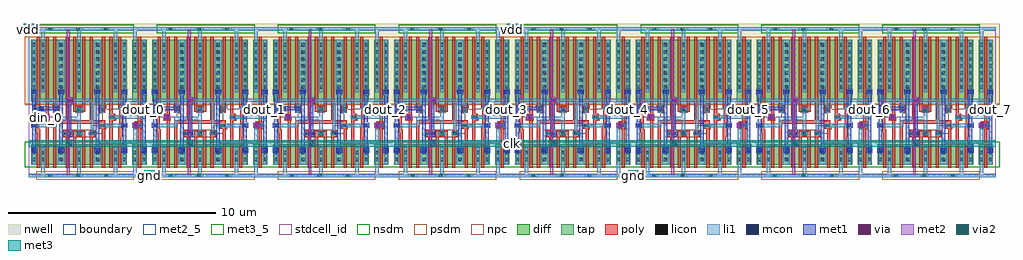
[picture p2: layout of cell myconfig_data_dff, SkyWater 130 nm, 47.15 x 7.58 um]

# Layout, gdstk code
import gdstk
lib = gdstk.Library(unit=1e-6, precision=1e-09)
def R(c, l, rs):  # rectangles x0, y0, x1, y1
    for r in rs: c.add(gdstk.rectangle(r[:2], r[2:], *l))
def A(c, l, x, y, w, h, nx, ny, dx, dy):  # array of equal rectangles
    R(c, l, [(x+i*dx, y+j*dy, x+i*dx+w, y+j*dy+h) for i in range(nx) for j in range(ny)])
nwell = (64, 20)
diff = (65, 20)
tap = (65, 44)
poly = (66, 20)
licon = (66, 44)
li1 = (67, 20)
mcon = (67, 44)
met1 = (68, 20)
via = (68, 44)
met2_5 = (69, 5)
met2 = (69, 20)
via2 = (69, 44)
met3_5 = (70, 5)
met3 = (70, 20)
stdcell_id = (81, 4)
nsdm = (93, 44)
psdm = (94, 20)
npc = (95, 20)
boundary = (235, 4)

sky130_fd_bd_sram__openr = lib.new_cell('sky130_fd_bd_sram__openram_dff')
R(sky130_fd_bd_sram__openr, nwell, [(-0.18,3.38,6.02,7.335)])
R(sky130_fd_bd_sram__openr, diff, [(0.14,0.51,4.75,1.51), (5.02,0.51,5.7,1.51), (0.14,3.56,4.75,6.56), (5.02,3.56,5.7,6.56)])
A(sky130_fd_bd_sram__openr, tap, 0.805, -0.085, 0.44, 0.17, 3, 2, 1.36, 7.07)
R(sky130_fd_bd_sram__openr, poly, [(0.405,0.38,0.555,2.085), (0.835,0.38,0.985,2.655), (1.195,0.38,1.345,2.505), (1.795,0.38,1.945,1.855), (2.155,0.38,2.305,1.885), (2.585,0.38,2.735,1.885), (2.945,0.38,3.095,1.855), (3.545,0.38,3.695,2.255), (3.905,0.38,4.055,2.655), (4.335,0.38,4.485,1.855), (5.285,0.38,5.435,2.255), (1.675,1.855,1.945,2.185), (2.945,1.855,3.215,2.185), (4.335,1.855,4.54,2.405), (2.155,1.885,2.735,2.155), (0.355,2.085,0.555,2.235), (0.355,2.235,0.505,3.055), (3.425,2.255,3.695,2.505), (5.165,2.255,5.435,2.585), (4.39,2.405,4.54,3.055), (1.195,2.505,3.695,2.655), (5.285,2.585,5.435,6.69), (0.715,2.655,0.985,2.985), (1.795,2.655,1.945,6.69), (2.945,2.655,3.095,6.69), (3.905,2.655,4.175,2.985), (0.835,2.985,0.985,6.69), (3.905,2.985,4.055,6.69), (1.195,3.03,1.465,3.36), (3.425,3.03,3.695,3.36), (0.235,3.055,0.505,3.335), (4.39,3.055,4.69,3.235), (2.155,3.065,2.735,3.335), (4.335,3.235,4.69,3.385), (0.235,3.335,0.555,3.385), (2.155,3.335,2.305,6.69), (2.585,3.335,2.735,6.69), (1.195,3.36,1.345,6.69), (3.545,3.36,3.695,6.69), (0.35,3.385,0.555,3.485), (4.335,3.385,4.485,6.69), (0.405,3.485,0.555,6.69)])
A(sky130_fd_bd_sram__openr, licon, 0.94, -0.085, 0.17, 0.17, 3, 2, 1.36, 7.07)
A(sky130_fd_bd_sram__openr, licon, 0.61, 0.675, 0.17, 0.17, 5, 2, 0.875, 0.34)
A(sky130_fd_bd_sram__openr, licon, 1.725, 1.935, 0.17, 0.17, 3, 1, 0.635, 0)
A(sky130_fd_bd_sram__openr, licon, 0.18, 4.185, 0.17, 0.17, 1, 7, 0, 0.34)
A(sky130_fd_bd_sram__openr, licon, 0.61, 4.185, 0.17, 0.17, 5, 7, 0.875, 0.34)
A(sky130_fd_bd_sram__openr, licon, 4.54, 4.185, 0.17, 0.17, 1, 7, 0, 0.34)
A(sky130_fd_bd_sram__openr, licon, 5.06, 4.185, 0.17, 0.17, 1, 7, 0, 0.34)
A(sky130_fd_bd_sram__openr, licon, 5.49, 4.185, 0.17, 0.17, 1, 7, 0, 0.34)
R(sky130_fd_bd_sram__openr, licon, [(0.18,0.675,0.35,0.845), (4.54,0.675,4.71,0.845), (5.06,0.675,5.23,0.845), (5.49,0.675,5.66,0.845), (0.18,1.015,0.35,1.185), (4.54,1.015,4.71,1.185), (5.06,1.015,5.23,1.185), (5.49,1.015,5.66,1.185), (3.475,2.335,3.645,2.505), (5.215,2.335,5.385,2.505), (0.765,2.735,0.935,2.905), (3.955,2.735,4.125,2.905), (1.245,3.11,1.415,3.28), (3.475,3.11,3.645,3.28), (2.36,3.115,2.53,3.285), (0.285,3.135,0.455,3.305), (4.47,3.135,4.64,3.305)])
A(sky130_fd_bd_sram__openr, li1, 0.61, 0.09, 0.17, 1.26, 3, 1, 1.75, 0)
A(sky130_fd_bd_sram__openr, li1, 0.61, 4.02, 0.17, 2.96, 3, 1, 1.75, 0)
R(sky130_fd_bd_sram__openr, li1, [(0,-0.09,5.84,0.09), (0,-0.09,5.84,0.09), (5.06,0.09,5.23,1.35), (0.18,0.51,0.35,1.35), (1.4,0.51,1.74,1.35), (3.15,0.51,3.49,1.35), (4.54,0.51,4.71,1.355), (5.49,0.51,5.66,1.355), (3.235,1.35,3.405,1.535), (3.235,1.535,5.23,1.705), (5.06,1.705,5.23,2.335), (1.64,1.935,2.065,2.105), (2.28,1.935,2.61,2.105), (2.915,1.935,3.245,2.105), (2.36,2.105,2.53,2.66), (2.995,2.105,3.165,3.535), (0.18,2.335,1.365,2.505), (3.395,2.335,4.71,2.505), (5.06,2.335,5.465,2.505), (1.195,2.505,1.365,2.66), (1.195,2.66,2.53,2.83), (0.685,2.735,1.015,2.905), (3.875,2.735,5.66,2.905), (2.36,2.83,2.53,3.115), (5.49,2.905,5.66,3.26), (1.245,3.03,1.415,3.535), (3.475,3.03,3.645,3.535), (2.28,3.115,2.61,3.285), (0.205,3.135,0.735,3.305), (4.39,3.135,4.72,3.305), (4.47,3.305,4.64,3.535), (0.205,3.535,5.66,3.705), (0.18,3.935,0.35,6.56), (1.485,3.935,1.655,4.02), (3.235,3.935,3.405,4.02), (4.54,3.935,4.71,6.56), (5.49,3.935,5.66,6.56), (1.4,4.02,1.74,6.56), (3.15,4.02,3.49,6.56), (5.06,4.02,5.23,6.98), (0,6.98,5.84,7.16), (0,6.98,5.84,7.16), (0,6.98,5.84,7.16)])
R(sky130_fd_bd_sram__openr, mcon, [(0.18,1.135,0.35,1.305), (1.485,1.135,1.655,1.305), (3.235,1.135,3.405,1.305), (4.54,1.135,4.71,1.305), (5.49,1.135,5.66,1.305), (1.895,1.935,2.065,2.105), (0.18,2.335,0.35,2.505), (4.54,2.335,4.71,2.505), (5.1,2.335,5.27,2.505), (0.765,2.735,0.935,2.905), (5.49,3.09,5.66,3.26), (0.565,3.135,0.735,3.305), (1.895,3.535,2.065,3.705), (0.18,3.935,0.35,4.105), (1.485,3.935,1.655,4.105), (3.235,3.935,3.405,4.105), (4.54,3.935,4.71,4.105), (5.49,3.935,5.66,4.105)])
R(sky130_fd_bd_sram__openr, met1, [(0.12,1.105,0.41,1.335), (1.425,1.105,1.715,1.335), (3.175,1.105,3.465,1.335), (4.48,1.105,4.77,1.335), (5.43,1.105,5.72,1.335), (0.18,1.335,0.35,2.305), (1.485,1.335,1.655,3.135), (3.235,1.335,3.405,3.905), (4.54,1.335,4.71,2.305), (5.49,1.335,5.66,3.045), (1.845,1.86,2.115,1.905), (1.835,1.905,2.125,2.135), (1.845,2.135,2.115,2.18), (1.895,2.18,2.065,3.46), (5.02,2.29,5.35,2.55), (0.12,2.305,0.41,2.535), (4.48,2.305,4.77,2.535), (0.18,2.535,0.35,3.905), (4.54,2.535,4.71,3.905), (0.685,2.69,1.015,2.95), (5.41,3.045,5.74,3.305), (0.505,3.105,0.795,3.135), (0.505,3.135,1.655,3.305), (0.505,3.305,0.795,3.335), (1.485,3.305,1.655,3.905), (5.49,3.305,5.66,3.905), (1.845,3.46,2.115,3.505), (1.835,3.505,2.125,3.735), (1.845,3.735,2.115,3.78), (0.12,3.905,0.41,4.135), (1.425,3.905,1.715,4.135), (3.175,3.905,3.465,4.135), (4.48,3.905,4.77,4.135), (5.43,3.905,5.72,4.135)])
R(sky130_fd_bd_sram__openr, via, [(5.11,2.345,5.26,2.495), (0.775,2.745,0.925,2.895), (5.5,3.1,5.65,3.25), (1.905,3.545,2.055,3.695)])
R(sky130_fd_bd_sram__openr, met2_5, [(0.685,2.69,1.015,2.95), (5.41,3.045,5.74,3.305), (1.845,3.46,2.115,3.78)])
R(sky130_fd_bd_sram__openr, met2, [(5.02,2.29,5.35,2.55), (0.685,2.69,1.015,2.95), (0.685,2.69,1.015,2.95), (0.685,2.69,1.015,2.95), (5.41,3.045,5.74,3.305), (5.41,3.045,5.74,3.305), (5.41,3.045,5.74,3.305), (1.845,3.46,2.115,3.78), (1.845,3.46,2.115,3.78), (1.845,3.46,2.115,3.78)])
R(sky130_fd_bd_sram__openr, stdcell_id, [(0,0,5.84,7.07)])
R(sky130_fd_bd_sram__openr, nsdm, [(-0.18,0.385,6.02,1.635), (0.36,6.86,5.075,7.07), (0.36,7.07,5.075,7.28)])
R(sky130_fd_bd_sram__openr, psdm, [(0.36,-0.21,5.075,0), (0.36,0,5.075,0.21), (-0.18,3.435,6.02,6.685)])
R(sky130_fd_bd_sram__openr, npc, [(1.625,1.835,3.265,2.01), (1.625,2.01,3.57,2.205), (3.07,2.205,3.57,2.235), (3.07,2.235,3.745,2.41), (5.115,2.235,5.485,2.605), (3.07,2.41,4.05,2.43), (3.375,2.43,4.05,2.605), (3.55,2.605,4.05,2.635), (0.665,2.635,1.035,2.81), (3.55,2.635,4.225,2.81), (0.36,2.81,1.34,3.01), (3.55,2.81,4.565,3.01), (0.36,3.01,1.515,3.035), (3.375,3.01,4.565,3.035), (2.26,3.015,2.63,3.385), (0.185,3.035,1.515,3.205), (3.375,3.035,4.74,3.205), (0.185,3.205,0.86,3.23), (1.145,3.205,1.515,3.38), (3.375,3.205,3.745,3.38), (4.03,3.205,4.74,3.23), (0.185,3.23,0.555,3.405), (4.37,3.23,4.74,3.405)])
R(sky130_fd_bd_sram__openr, boundary, [(0,0,5.84,7.07)])
sky130_fd_bd_sram__openr.add(gdstk.Label('QN', (5.035,2.52), layer=69, texttype=5))
sky130_fd_bd_sram__openr.add(gdstk.Label('CLK', (1.98,3.62), layer=69, texttype=5))
sky130_fd_bd_sram__openr.add(gdstk.Label('D', (0.85,2.82), layer=69, texttype=5))
sky130_fd_bd_sram__openr.add(gdstk.Label('Q', (5.575,3.175), layer=69, texttype=5))
sky130_fd_bd_sram__openr.add(gdstk.Label('VDD', (2.74,7.08), layer=67, texttype=5))
sky130_fd_bd_sram__openr.add(gdstk.Label('GND', (2.72,0), layer=67, texttype=5))
sky130_fd_bd_sram__openr.add(gdstk.Label('D', (0.85,2.82), layer=69, texttype=5))
sky130_fd_bd_sram__openr.add(gdstk.Label('Q', (5.575,3.175), layer=69, texttype=5))
sky130_fd_bd_sram__openr.add(gdstk.Label('clk', (1.98,3.62), layer=69, texttype=5))
sky130_fd_bd_sram__openr.add(gdstk.Label('vdd', (2.92,7.07), layer=67, texttype=5))
sky130_fd_bd_sram__openr.add(gdstk.Label('gnd', (2.92,0), layer=67, texttype=5))

myconfig_contact_13 = lib.new_cell('myconfig_contact_13')
R(myconfig_contact_13, li1, [(0.06,0,0.23,0.33)])
R(myconfig_contact_13, mcon, [(0.06,0.08,0.23,0.25)])
R(myconfig_contact_13, met1, [(0,0.05,0.29,0.28)])
R(myconfig_contact_13, stdcell_id, [(0,0,0.29,0.33)])
R(myconfig_contact_13, boundary, [(0,0,0.29,0.33)])

myconfig_contact_18 = lib.new_cell('myconfig_contact_18')
R(myconfig_contact_18, met1, [(0,0.03,0.32,0.29)])
R(myconfig_contact_18, via, [(0.085,0.085,0.235,0.235)])
R(myconfig_contact_18, met2, [(0.03,0,0.29,0.32)])
R(myconfig_contact_18, stdcell_id, [(0,0,0.32,0.32)])
R(myconfig_contact_18, boundary, [(0,0,0.32,0.32)])

myconfig_contact_21 = lib.new_cell('myconfig_contact_21')
R(myconfig_contact_21, met2, [(0.025,0,0.305,0.37)])
R(myconfig_contact_21, via2, [(0.065,0.085,0.265,0.285)])
R(myconfig_contact_21, met3, [(0,0.02,0.33,0.35)])
R(myconfig_contact_21, stdcell_id, [(0,0,0.33,0.37)])
R(myconfig_contact_21, boundary, [(0,0,0.33,0.37)])

myconfig_data_dff = lib.new_cell('myconfig_data_dff')
R(myconfig_data_dff, met1, [(5.68,-0.13,6,0.13), (29.04,-0.13,29.36,0.13), (-0.16,6.94,0.16,7.2), (23.2,6.94,23.52,7.2)])
A(myconfig_data_dff, met2_5, 0.685, 2.69, 0.33, 0.26, 8, 1, 5.84, 0)
A(myconfig_data_dff, met2_5, 5.41, 3.045, 0.33, 0.26, 8, 1, 5.84, 0)
A(myconfig_data_dff, met2, 1.845, 0, 0.14, 7.07, 8, 1, 5.84, 0)
A(myconfig_data_dff, met2, 1.84, 1.42, 0.28, 0.24, 8, 1, 5.84, 0)
A(myconfig_data_dff, met2, 0.685, 2.69, 0.33, 0.26, 8, 1, 5.84, 0)
A(myconfig_data_dff, met2, 5.41, 3.045, 0.33, 0.26, 8, 1, 5.84, 0)
R(myconfig_data_dff, met2, [(5.7,-0.12,5.98,0.12), (29.06,-0.12,29.34,0.12), (-0.14,6.95,0.14,7.19), (23.22,6.95,23.5,7.19)])
R(myconfig_data_dff, met3_5, [(5.595,-0.245,6.085,0.245), (28.955,-0.245,29.445,0.245), (0,1.39,46.72,1.69), (-0.245,6.825,0.245,7.315), (23.115,6.825,23.605,7.315)])
R(myconfig_data_dff, met3, [(5.595,-0.245,6.085,0.245), (28.955,-0.245,29.445,0.245), (0,1.39,46.72,1.69), (-0.245,6.825,0.245,7.315), (23.115,6.825,23.605,7.315)])
R(myconfig_data_dff, stdcell_id, [(0,0,46.72,7.07)])
R(myconfig_data_dff, boundary, [(0,0,46.72,7.07)])
myconfig_data_dff.add(gdstk.Reference(sky130_fd_bd_sram__openr, (0,0)))
myconfig_data_dff.add(gdstk.Reference(sky130_fd_bd_sram__openr, (5.84,0)))
myconfig_data_dff.add(gdstk.Reference(sky130_fd_bd_sram__openr, (11.68,0)))
myconfig_data_dff.add(gdstk.Reference(sky130_fd_bd_sram__openr, (17.52,0)))
myconfig_data_dff.add(gdstk.Reference(sky130_fd_bd_sram__openr, (23.36,0)))
myconfig_data_dff.add(gdstk.Reference(sky130_fd_bd_sram__openr, (29.2,0)))
myconfig_data_dff.add(gdstk.Reference(sky130_fd_bd_sram__openr, (35.04,0)))
myconfig_data_dff.add(gdstk.Reference(sky130_fd_bd_sram__openr, (40.88,0)))
myconfig_data_dff.add(gdstk.Reference(myconfig_contact_13, (-0.145,6.905)))
myconfig_data_dff.add(gdstk.Reference(myconfig_contact_18, (-0.16,6.91)))
myconfig_data_dff.add(gdstk.Reference(myconfig_contact_21, (-0.165,6.885)))
myconfig_data_dff.add(gdstk.Reference(myconfig_contact_13, (23.215,6.905)))
myconfig_data_dff.add(gdstk.Reference(myconfig_contact_18, (23.2,6.91)))
myconfig_data_dff.add(gdstk.Reference(myconfig_contact_21, (23.195,6.885)))
myconfig_data_dff.add(gdstk.Reference(myconfig_contact_13, (5.695,-0.165)))
myconfig_data_dff.add(gdstk.Reference(myconfig_contact_18, (5.68,-0.16)))
myconfig_data_dff.add(gdstk.Reference(myconfig_contact_21, (5.675,-0.185)))
myconfig_data_dff.add(gdstk.Reference(myconfig_contact_13, (29.055,-0.165)))
myconfig_data_dff.add(gdstk.Reference(myconfig_contact_18, (29.04,-0.16)))
myconfig_data_dff.add(gdstk.Reference(myconfig_contact_21, (29.035,-0.185)))
myconfig_data_dff.add(gdstk.Reference(myconfig_contact_21, (1.815,1.355)))
myconfig_data_dff.add(gdstk.Reference(myconfig_contact_21, (7.655,1.355)))
myconfig_data_dff.add(gdstk.Reference(myconfig_contact_21, (13.495,1.355)))
myconfig_data_dff.add(gdstk.Reference(myconfig_contact_21, (19.335,1.355)))
myconfig_data_dff.add(gdstk.Reference(myconfig_contact_21, (25.175,1.355)))
myconfig_data_dff.add(gdstk.Reference(myconfig_contact_21, (31.015,1.355)))
myconfig_data_dff.add(gdstk.Reference(myconfig_contact_21, (36.855,1.355)))
myconfig_data_dff.add(gdstk.Reference(myconfig_contact_21, (42.695,1.355)))
myconfig_data_dff.add(gdstk.Label('vdd', (23.36,7.07), layer=70, texttype=5))
myconfig_data_dff.add(gdstk.Label('vdd', (0,7.07), layer=70, texttype=5))
myconfig_data_dff.add(gdstk.Label('gnd', (5.84,0), layer=70, texttype=5))
myconfig_data_dff.add(gdstk.Label('gnd', (29.2,0), layer=70, texttype=5))
myconfig_data_dff.add(gdstk.Label('din_0', (0.85,2.82), layer=69, texttype=5))
myconfig_data_dff.add(gdstk.Label('dout_0', (5.575,3.175), layer=69, texttype=5))
myconfig_data_dff.add(gdstk.Label('din_1', (6.69,2.82), layer=69, texttype=5))
myconfig_data_dff.add(gdstk.Label('dout_1', (11.415,3.175), layer=69, texttype=5))
myconfig_data_dff.add(gdstk.Label('din_2', (12.53,2.82), layer=69, texttype=5))
myconfig_data_dff.add(gdstk.Label('dout_2', (17.255,3.175), layer=69, texttype=5))
myconfig_data_dff.add(gdstk.Label('din_3', (18.37,2.82), layer=69, texttype=5))
myconfig_data_dff.add(gdstk.Label('dout_3', (23.095,3.175), layer=69, texttype=5))
myconfig_data_dff.add(gdstk.Label('din_4', (24.21,2.82), layer=69, texttype=5))
myconfig_data_dff.add(gdstk.Label('dout_4', (28.935,3.175), layer=69, texttype=5))
myconfig_data_dff.add(gdstk.Label('din_5', (30.05,2.82), layer=69, texttype=5))
myconfig_data_dff.add(gdstk.Label('dout_5', (34.775,3.175), layer=69, texttype=5))
myconfig_data_dff.add(gdstk.Label('din_6', (35.89,2.82), layer=69, texttype=5))
myconfig_data_dff.add(gdstk.Label('dout_6', (40.615,3.175), layer=69, texttype=5))
myconfig_data_dff.add(gdstk.Label('din_7', (41.73,2.82), layer=69, texttype=5))
myconfig_data_dff.add(gdstk.Label('dout_7', (46.455,3.175), layer=69, texttype=5))
myconfig_data_dff.add(gdstk.Label('clk', (23.36,1.54), layer=70, texttype=5))

lib.write_gds('myconfig_data_dff.gds')
